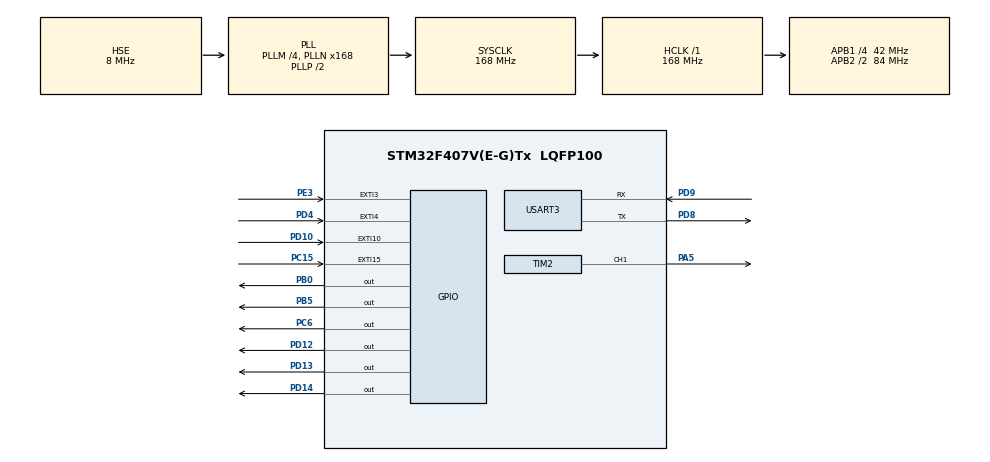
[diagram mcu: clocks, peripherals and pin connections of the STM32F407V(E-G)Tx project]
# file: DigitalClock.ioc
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Mcu.Family=STM32F4
Mcu.Name=STM32F407V(E-G)Tx
Mcu.Package=LQFP100
NVIC.EXTI15_10_IRQn=true\:0\:0\:false\:true\:true\:3\:true\:true\:true
NVIC.EXTI3_IRQn=true\:0\:0\:false\:true\:true\:1\:true\:true\:true
NVIC.EXTI4_IRQn=true\:0\:0\:false\:true\:true\:2\:true\:true\:true
NVIC.PriorityGroup=NVIC_PRIORITYGROUP_4
NVIC.TIM6_DAC_IRQn=true\:0\:0\:false\:true\:true\:4\:true\:true\:true
NVIC.USART3_IRQn=true\:0\:0\:false\:true\:true\:5\:true\:true\:true
PA5.Signal=S_TIM2_CH1_ETR
PB0.PinState=GPIO_PIN_SET
PB0.Signal=GPIO_Output
PB5.PinState=GPIO_PIN_SET
PB5.Signal=GPIO_Output
PC15-OSC32_OUT.GPIO_ModeDefaultEXTI=GPIO_MODE_IT_RISING_FALLING
PC15-OSC32_OUT.Signal=GPXTI15
PC6.PinState=GPIO_PIN_SET
PC6.Signal=GPIO_Output
PD10.GPIO_ModeDefaultEXTI=GPIO_MODE_IT_RISING_FALLING
PD10.Signal=GPXTI10
PD12.PinState=GPIO_PIN_SET
PD12.Signal=GPIO_Output
PD13.PinState=GPIO_PIN_SET
PD13.Signal=GPIO_Output
PD14.PinState=GPIO_PIN_SET
PD14.Signal=GPIO_Output
PD4.GPIO_ModeDefaultEXTI=GPIO_MODE_IT_RISING_FALLING
PD4.Signal=GPXTI4
PD8.Mode=Asynchronous
PD8.Signal=USART3_TX
PD9.Mode=Asynchronous
PD9.Signal=USART3_RX
PE3.GPIO_ModeDefaultEXTI=GPIO_MODE_IT_RISING_FALLING
PE3.Signal=GPXTI3
PH0-OSC_IN.Mode=HSE-External-Oscillator
PH0-OSC_IN.Signal=RCC_OSC_IN
PH1-OSC_OUT.Mode=HSE-External-Oscillator
PH1-OSC_OUT.Signal=RCC_OSC_OUT
ProjectManager.HeapSize=0x200
ProjectManager.StackSize=0x400
ProjectManager.TargetToolchain=CMake
RCC.48MHZClocksFreq_Value=84000000
RCC.AHBFreq_Value=168000000
RCC.APB1CLKDivider=RCC_HCLK_DIV4
RCC.APB1Freq_Value=42000000
RCC.APB1TimFreq_Value=84000000
RCC.APB2CLKDivider=RCC_HCLK_DIV2
RCC.APB2Freq_Value=84000000
RCC.APB2TimFreq_Value=168000000
RCC.CortexFreq_Value=168000000
RCC.HCLKFreq_Value=168000000
RCC.HSE_VALUE=8000000
RCC.HSI_VALUE=16000000
RCC.LSE_VALUE=32768
RCC.PLLM=4
RCC.PLLN=168
RCC.PLLSourceVirtual=RCC_PLLSOURCE_HSE
RCC.SYSCLKFreq_VALUE=168000000
RCC.SYSCLKSource=RCC_SYSCLKSOURCE_PLLCLK
RCC.VCOOutputFreq_Value=336000000
SH.S_TIM2_CH1_ETR.0=TIM2_CH1,PWM Generation1 CH1
TIM2.Channel-PWM\ Generation1\ CH1=TIM_CHANNEL_1
TIM2.Period=9
TIM2.Pulse-PWM\ Generation1\ CH1=4
TIM6.AutoReloadPreload=TIM_AUTORELOAD_PRELOAD_ENABLE
TIM6.Period=999
TIM6.Prescaler=83
USART3.VirtualMode=VM_ASYNC
VP_TIM2_VS_ClockSourceINT.Mode=Internal
VP_TIM6_VS_ClockSourceINT.Mode=Enable_Timer
board=custom

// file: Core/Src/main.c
/* USER CODE BEGIN Header */
/**
 ******************************************************************************
 * @file           : main.c
 * @brief          : Main program body
 ******************************************************************************
 * @attention
 *
 * Copyright (c) 2024 STMicroelectronics.
 * All rights reserved.
 *
 * This software is licensed under terms that can be found in the LICENSE file
 * in the root directory of this software component.
 * If no LICENSE file comes with this software, it is provided AS-IS.
 *
 ******************************************************************************
 */
/* USER CODE END Header */
#include "main.h"

/* USER CODE BEGIN Includes */
#include <stdio.h>

#include "7SEG.h"
#include "CLCD.h"
#include "_alarm.h"
#include "_clock.h"
#include "_led.h"
#include "_stopwatch.h"
#include "_switch.h"
/* USER CODE END Includes */

TIM_HandleTypeDef htim2;
TIM_HandleTypeDef htim6;

UART_HandleTypeDef huart3;

/* USER CODE BEGIN PV */
Clock_status clock_mode = m_Clock;
uint8_t str1[20];
uint8_t str2[20];
uint8_t ondp = 0;
uint8_t onbz = 1;
uint8_t bz_busy = 0;
char strdp = ' ';

// Switch Variables
SW_status sw1 = {None, bzNone, 0, 0, 0, 0, 0, 0, 0, 0, 0, 0, 0, 0, 0};
SW_status sw2 = {None, bzNone, 0, 0, 0, 0, 0, 0, 0, 0, 0, 0, 0, 0, 0};
SW_status sw3 = {None, bzNone, 0, 0, 0, 0, 0, 0, 0, 0, 0, 0, 0, 0, 0};
SW_status sw4 = {None, bzNone, 0, 0, 0, 0, 0, 0, 0, 0, 0, 0, 0, 0, 0};

// Clock & Set Variables
Clock_Buzzer clock_bz = {0, 0, 0};
uint8_t isleap = 0;
uint8_t clock_form = FORM_12H;
uint16_t clock_count = 0;
char strleap[] = "LEAP";
char str12H[] = "AM";
char strbz[] = "OFF";
int clock_time[6] = {2023, 12, 31, 23, 59, 50};

uint16_t clock_set_timer = 0;
int clock_set = 5;

// Alarm Variables
Alarm alarm[MAX_ALARM_SAVE];
uint8_t alarm_bz = 0;
uint8_t alarm_bz_off_flag = 0;
uint8_t alarm_bz_tic = 0;
uint8_t alarm_sw_flag = 0;
uint8_t hour12H = 0;
uint16_t alarm_timer = 0;
uint16_t alarm_bz_count = 0;
int8_t alarm_count = 0;
char stralarm[] = "OFF";
char strrpt[] = "ONC";

uint16_t alarm_set_timer = 0;
int alarm_set = 4;

// Stopwatch Variables
Stopw_status stopw_status = Stopped;
Lap lap_save[MAX_LAP_SAVE];
uint8_t lap_count = 0;
uint8_t lap_display_count = 0;
uint16_t stopw_count = 0;
uint16_t stopw_time[4] = {0, 0, 0, 0};
uint16_t stopw_timer = 0;

/* USER CODE END PV */

void SystemClock_Config(void);
static void MX_GPIO_Init(void);
static void MX_TIM6_Init(void);
static void MX_USART3_UART_Init(void);
static void MX_TIM2_Init(void);
static void MX_NVIC_Init(void);

int main(void) {

  /* MCU Configuration--------------------------------------------------------*/

  /* Reset of all peripherals, Initializes the Flash interface and the Systick.
   */
  HAL_Init();

  /* USER CODE BEGIN Init */
  _7SEG_GPIO_Init();
  CLCD_GPIO_Init();
  CLCD_Init();
  ClockInit();
  LapInit();
  AlarmInit();
  /* USER CODE END Init */

  /* Configure the system clock */
  SystemClock_Config();

  /* Initialize all configured peripherals */
  MX_GPIO_Init();
  MX_TIM6_Init();
  MX_USART3_UART_Init();
  MX_TIM2_Init();

  /* Initialize interrupts */
  MX_NVIC_Init();
  /* USER CODE BEGIN 2 */
  CLCD_Clear();
  HAL_TIM_Base_Start_IT(&htim6);
  /* USER CODE END 2 */

  /* Infinite loop */
  /* USER CODE BEGIN WHILE */
  while (1) {
    switch (clock_mode) {
      case m_Clock:
        ClockDisplay();
        ClockSwitchSq();
        break;
      case m_Clock_Set:
        ClockSetDisplay();
        ClockSetSwitchSq();
        ClockSetTimer();
        break;
      case m_Alarm:
        AlarmDisplay();
        AlarmSwitchSq();
        AlarmTimer();
        break;
      case m_Alarm_Set:
        AlarmSetDisplay();
        AlarmSetSwitchSq();
        AlarmSetTimer();
        break;
      case m_Stopwatch:
        StopwDisplay();
        StopwSwitchSq();
        StopwTimer();
        break;
      default:
        break;
    }

    /* USER CODE END WHILE */

  }
}

void SystemClock_Config(void) {
  RCC_OscInitTypeDef RCC_OscInitStruct = {0};
  RCC_ClkInitTypeDef RCC_ClkInitStruct = {0};

  /** Configure the main internal regulator output voltage
   */
  __HAL_RCC_PWR_CLK_ENABLE();
  __HAL_PWR_VOLTAGESCALING_CONFIG(PWR_REGULATOR_VOLTAGE_SCALE1);

  /** Initializes the RCC Oscillators according to the specified parameters
   * in the RCC_OscInitTypeDef structure.
   */
  RCC_OscInitStruct.OscillatorType = RCC_OSCILLATORTYPE_HSE;
  RCC_OscInitStruct.HSEState = RCC_HSE_ON;
  RCC_OscInitStruct.PLL.PLLState = RCC_PLL_ON;
  RCC_OscInitStruct.PLL.PLLSource = RCC_PLLSOURCE_HSE;
  RCC_OscInitStruct.PLL.PLLM = 4;
  RCC_OscInitStruct.PLL.PLLN = 168;
  RCC_OscInitStruct.PLL.PLLP = RCC_PLLP_DIV2;
  RCC_OscInitStruct.PLL.PLLQ = 4;
  if (HAL_RCC_OscConfig(&RCC_OscInitStruct) != HAL_OK) {
    Error_Handler();
  }

  /** Initializes the CPU, AHB and APB buses clocks
   */
  RCC_ClkInitStruct.ClockType = RCC_CLOCKTYPE_HCLK | RCC_CLOCKTYPE_SYSCLK |
                                RCC_CLOCKTYPE_PCLK1 | RCC_CLOCKTYPE_PCLK2;
  RCC_ClkInitStruct.SYSCLKSource = RCC_SYSCLKSOURCE_PLLCLK;
  RCC_ClkInitStruct.AHBCLKDivider = RCC_SYSCLK_DIV1;
  RCC_ClkInitStruct.APB1CLKDivider = RCC_HCLK_DIV4;
  RCC_ClkInitStruct.APB2CLKDivider = RCC_HCLK_DIV2;

  if (HAL_RCC_ClockConfig(&RCC_ClkInitStruct, FLASH_LATENCY_5) != HAL_OK) {
    Error_Handler();
  }
}

/**
 * @brief NVIC Configuration.
 * @retval None
 */
static void MX_NVIC_Init(void) {
  /* EXTI3_IRQn interrupt configuration */
  HAL_NVIC_SetPriority(EXTI3_IRQn, 0, 0);
  HAL_NVIC_EnableIRQ(EXTI3_IRQn);
  /* EXTI4_IRQn interrupt configuration */
  HAL_NVIC_SetPriority(EXTI4_IRQn, 0, 0);
  HAL_NVIC_EnableIRQ(EXTI4_IRQn);
  /* EXTI15_10_IRQn interrupt configuration */
  HAL_NVIC_SetPriority(EXTI15_10_IRQn, 0, 0);
  HAL_NVIC_EnableIRQ(EXTI15_10_IRQn);
  /* TIM6_DAC_IRQn interrupt configuration */
  HAL_NVIC_SetPriority(TIM6_DAC_IRQn, 0, 0);
  HAL_NVIC_EnableIRQ(TIM6_DAC_IRQn);
  /* USART3_IRQn interrupt configuration */
  HAL_NVIC_SetPriority(USART3_IRQn, 0, 0);
  HAL_NVIC_EnableIRQ(USART3_IRQn);
}

static void MX_TIM2_Init(void) {

  TIM_ClockConfigTypeDef sClockSourceConfig = {0};
  TIM_MasterConfigTypeDef sMasterConfig = {0};
  TIM_OC_InitTypeDef sConfigOC = {0};

  htim2.Instance = TIM2;
  htim2.Init.Prescaler = 0;
  htim2.Init.CounterMode = TIM_COUNTERMODE_UP;
  htim2.Init.Period = 9;
  htim2.Init.ClockDivision = TIM_CLOCKDIVISION_DIV1;
  htim2.Init.AutoReloadPreload = TIM_AUTORELOAD_PRELOAD_DISABLE;
  if (HAL_TIM_Base_Init(&htim2) != HAL_OK) {
    Error_Handler();
  }
  sClockSourceConfig.ClockSource = TIM_CLOCKSOURCE_INTERNAL;
  if (HAL_TIM_ConfigClockSource(&htim2, &sClockSourceConfig) != HAL_OK) {
    Error_Handler();
  }
  if (HAL_TIM_PWM_Init(&htim2) != HAL_OK) {
    Error_Handler();
  }
  sMasterConfig.MasterOutputTrigger = TIM_TRGO_RESET;
  sMasterConfig.MasterSlaveMode = TIM_MASTERSLAVEMODE_DISABLE;
  if (HAL_TIMEx_MasterConfigSynchronization(&htim2, &sMasterConfig) != HAL_OK) {
    Error_Handler();
  }
  sConfigOC.OCMode = TIM_OCMODE_PWM1;
  sConfigOC.Pulse = 4;
  sConfigOC.OCPolarity = TIM_OCPOLARITY_HIGH;
  sConfigOC.OCFastMode = TIM_OCFAST_DISABLE;
  if (HAL_TIM_PWM_ConfigChannel(&htim2, &sConfigOC, TIM_CHANNEL_1) != HAL_OK) {
    Error_Handler();
  }
  HAL_TIM_MspPostInit(&htim2);
}

static void MX_TIM6_Init(void) {

  TIM_MasterConfigTypeDef sMasterConfig = {0};

  htim6.Instance = TIM6;
  htim6.Init.Prescaler = 83;
  htim6.Init.CounterMode = TIM_COUNTERMODE_UP;
  htim6.Init.Period = 999;
  htim6.Init.AutoReloadPreload = TIM_AUTORELOAD_PRELOAD_ENABLE;
  if (HAL_TIM_Base_Init(&htim6) != HAL_OK) {
    Error_Handler();
  }
  sMasterConfig.MasterOutputTrigger = TIM_TRGO_RESET;
  sMasterConfig.MasterSlaveMode = TIM_MASTERSLAVEMODE_DISABLE;
  if (HAL_TIMEx_MasterConfigSynchronization(&htim6, &sMasterConfig) != HAL_OK) {
    Error_Handler();
  }
}

static void MX_USART3_UART_Init(void) {

  huart3.Instance = USART3;
  huart3.Init.BaudRate = 115200;
  huart3.Init.WordLength = UART_WORDLENGTH_8B;
  huart3.Init.StopBits = UART_STOPBITS_1;
  huart3.Init.Parity = UART_PARITY_NONE;
  huart3.Init.Mode = UART_MODE_TX_RX;
  huart3.Init.HwFlowCtl = UART_HWCONTROL_NONE;
  huart3.Init.OverSampling = UART_OVERSAMPLING_16;
  if (HAL_UART_Init(&huart3) != HAL_OK) {
    Error_Handler();
  }
}

static void MX_GPIO_Init(void) {
  GPIO_InitTypeDef GPIO_InitStruct = {0};

  /* GPIO Ports Clock Enable */
  __HAL_RCC_GPIOE_CLK_ENABLE();
  __HAL_RCC_GPIOC_CLK_ENABLE();
  __HAL_RCC_GPIOH_CLK_ENABLE();
  __HAL_RCC_GPIOA_CLK_ENABLE();
  __HAL_RCC_GPIOB_CLK_ENABLE();
  __HAL_RCC_GPIOD_CLK_ENABLE();

  /*Configure GPIO pin Output Level */
  HAL_GPIO_WritePin(GPIOB, GPIO_PIN_0 | GPIO_PIN_5, GPIO_PIN_SET);

  /*Configure GPIO pin Output Level */
  HAL_GPIO_WritePin(GPIOD, GPIO_PIN_12 | GPIO_PIN_13 | GPIO_PIN_14,
                    GPIO_PIN_SET);

  /*Configure GPIO pin Output Level */
  HAL_GPIO_WritePin(GPIOC, GPIO_PIN_6, GPIO_PIN_SET);

  /*Configure GPIO pin : PE3 */
  GPIO_InitStruct.Pin = GPIO_PIN_3;
  GPIO_InitStruct.Mode = GPIO_MODE_IT_RISING_FALLING;
  GPIO_InitStruct.Pull = GPIO_NOPULL;
  HAL_GPIO_Init(GPIOE, &GPIO_InitStruct);

  /*Configure GPIO pin : PC15 */
  GPIO_InitStruct.Pin = GPIO_PIN_15;
  GPIO_InitStruct.Mode = GPIO_MODE_IT_RISING_FALLING;
  GPIO_InitStruct.Pull = GPIO_NOPULL;
  HAL_GPIO_Init(GPIOC, &GPIO_InitStruct);

  /*Configure GPIO pins : PB0 PB5 */
  GPIO_InitStruct.Pin = GPIO_PIN_0 | GPIO_PIN_5;
  GPIO_InitStruct.Mode = GPIO_MODE_OUTPUT_PP;
  GPIO_InitStruct.Pull = GPIO_NOPULL;
  GPIO_InitStruct.Speed = GPIO_SPEED_FREQ_LOW;
  HAL_GPIO_Init(GPIOB, &GPIO_InitStruct);

  /*Configure GPIO pins : PD10 PD4 */
  GPIO_InitStruct.Pin = GPIO_PIN_10 | GPIO_PIN_4;
  GPIO_InitStruct.Mode = GPIO_MODE_IT_RISING_FALLING;
  GPIO_InitStruct.Pull = GPIO_NOPULL;
  HAL_GPIO_Init(GPIOD, &GPIO_InitStruct);

  /*Configure GPIO pins : PD12 PD13 PD14 */
  GPIO_InitStruct.Pin = GPIO_PIN_12 | GPIO_PIN_13 | GPIO_PIN_14;
  GPIO_InitStruct.Mode = GPIO_MODE_OUTPUT_PP;
  GPIO_InitStruct.Pull = GPIO_NOPULL;
  GPIO_InitStruct.Speed = GPIO_SPEED_FREQ_LOW;
  HAL_GPIO_Init(GPIOD, &GPIO_InitStruct);

  /*Configure GPIO pin : PC6 */
  GPIO_InitStruct.Pin = GPIO_PIN_6;
  GPIO_InitStruct.Mode = GPIO_MODE_OUTPUT_PP;
  GPIO_InitStruct.Pull = GPIO_NOPULL;
  GPIO_InitStruct.Speed = GPIO_SPEED_FREQ_LOW;
  HAL_GPIO_Init(GPIOC, &GPIO_InitStruct);

}

/* USER CODE BEGIN 4 */
void HAL_TIM_PeriodElapsedCallback(TIM_HandleTypeDef *htim) {
  if (htim->Instance == TIM6) {
    clock_count++;
    ClockRunning();
    if (clock_bz.bz_on) {
      clock_bz.bz_count++;
      ClockBuzzerTimer();
    }
    ClockBuzzerSq(&htim2, onbz);

    SwitchRunning(&htim2, onbz);
    AlarmRunning(&htim2, onbz);

    switch (clock_mode) {
      case m_Clock:
        break;
      case m_Clock_Set:
        clock_set_timer++;
        break;
      case m_Alarm:
        alarm_timer++;
        if (alarm_bz_off_flag) {
          alarm_bz = 0;
          alarm_bz_off_flag = 0;
          HAL_TIM_PWM_Stop(&htim2, TIM_CHANNEL_1);
        }
        if (alarm_bz) {
          AlarmBuzzerTimer();
          AlarmBuzzer(&htim2, onbz);
        }
        break;
      case m_Alarm_Set:
        alarm_set_timer++;
        break;
      case m_Stopwatch:
        stopw_count++;
        stopw_timer++;
        StopwCount();
        break;
    }

    // Clock Buzzer

    // Swtich Press time
    if (sw1.sw_on) {
      SwitchPressTimer(&sw1);
      SwitchBuzzerTimer(&sw1);
    }
    if (sw2.sw_on) {
      SwitchPressTimer(&sw2);
      SwitchBuzzerTimer(&sw2);
    }
    if (sw3.sw_on) {
      SwitchPressTimer(&sw3);
      SwitchBuzzerTimer(&sw3);
    }
    if (sw4.sw_on) {
      SwitchPressTimer(&sw4);
      SwitchBuzzerTimer(&sw4);
    }
  }
}

void HAL_GPIO_EXTI_Callback(uint16_t GPIO_Pin) {
  if (GPIO_Pin == GPIO_PIN_3) SwitchCheck(&sw1, GPIOE, GPIO_PIN_3);
  if (GPIO_Pin == GPIO_PIN_15) SwitchCheck(&sw2, GPIOC, GPIO_PIN_15);
  if (GPIO_Pin == GPIO_PIN_4) SwitchCheck(&sw3, GPIOD, GPIO_PIN_4);
  if (GPIO_Pin == GPIO_PIN_10) SwitchCheck(&sw4, GPIOD, GPIO_PIN_10);
}
/* USER CODE END 4 */

void Error_Handler(void) {
  __disable_irq();
  while (1) {
  }
}

#ifdef USE_FULL_ASSERT
/**
 * @brief  Reports the name of the source file and the source line number
 *         where the assert_param error has occurred.
 * @param  file: pointer to the source file name
 * @param  line: assert_param error line source number
 * @retval None
 */
void assert_failed(uint8_t *file, uint32_t line) {
  /* USER CODE BEGIN 6 */
  /* User can add his own implementation to report the file name and line
     number, ex: printf("Wrong parameters value: file %s on line %d\r\n", file,
     line) */
  /* USER CODE END 6 */
}
#endif /* USE_FULL_ASSERT */
